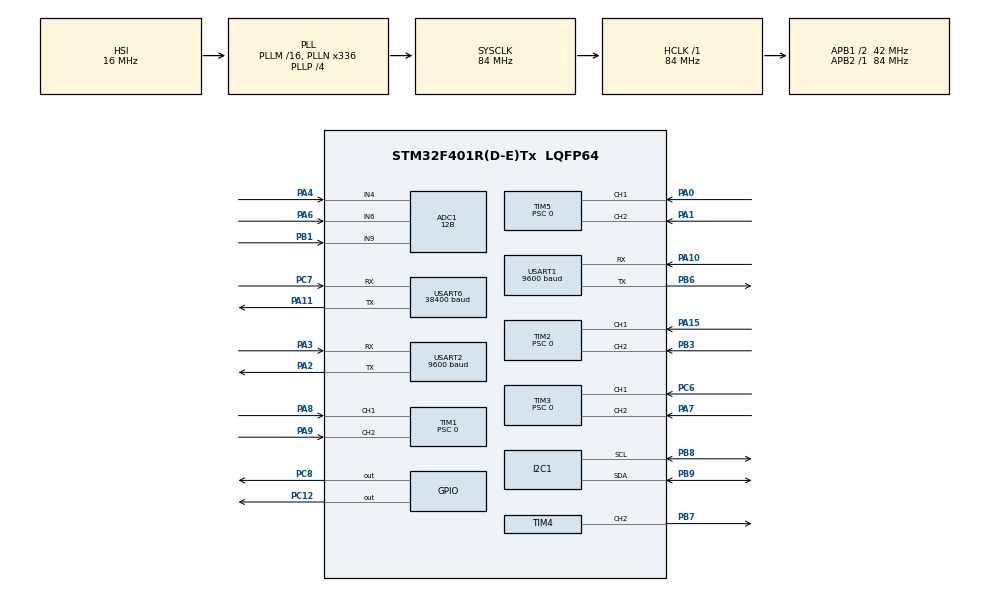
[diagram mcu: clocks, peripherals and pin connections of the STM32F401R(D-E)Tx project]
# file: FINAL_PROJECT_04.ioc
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ADC1.Channel-0\#ChannelRegularConversion=ADC_CHANNEL_4
ADC1.Channel-1\#ChannelRegularConversion=ADC_CHANNEL_9
ADC1.Channel-2\#ChannelRegularConversion=ADC_CHANNEL_6
ADC1.ClockPrescaler=ADC_CLOCK_SYNC_PCLK_DIV4
ADC1.ContinuousConvMode=ENABLE
ADC1.DMAContinuousRequests=ENABLE
ADC1.DataAlign=ADC_DATAALIGN_RIGHT
ADC1.DiscontinuousConvMode=DISABLE
ADC1.EOCSelection=ADC_EOC_SINGLE_CONV
ADC1.EnableAnalogWatchDog=false
ADC1.ExternalTrigConv=ADC_SOFTWARE_START
ADC1.ExternalTrigConvEdge=ADC_EXTERNALTRIGCONVEDGE_NONE
ADC1.InjNumberOfConversion=0
ADC1.NbrOfConversion=3
ADC1.NbrOfConversionFlag=1
ADC1.Rank-0\#ChannelRegularConversion=1
ADC1.Rank-1\#ChannelRegularConversion=2
ADC1.Rank-2\#ChannelRegularConversion=3
ADC1.Resolution=ADC_RESOLUTION_12B
ADC1.SamplingTime-0\#ChannelRegularConversion=ADC_SAMPLETIME_28CYCLES
ADC1.SamplingTime-1\#ChannelRegularConversion=ADC_SAMPLETIME_28CYCLES
ADC1.SamplingTime-2\#ChannelRegularConversion=ADC_SAMPLETIME_28CYCLES
ADC1.ScanConvMode=ENABLE
ADC1.master=1
Dma.ADC1.1.Direction=DMA_PERIPH_TO_MEMORY
Dma.ADC1.1.FIFOMode=DMA_FIFOMODE_DISABLE
Dma.ADC1.1.Instance=DMA2_Stream0
Dma.ADC1.1.MemDataAlignment=DMA_MDATAALIGN_WORD
Dma.ADC1.1.MemInc=DMA_MINC_ENABLE
Dma.ADC1.1.Mode=DMA_CIRCULAR
Dma.ADC1.1.PeriphDataAlignment=DMA_PDATAALIGN_WORD
Dma.ADC1.1.PeriphInc=DMA_PINC_DISABLE
Dma.ADC1.1.Priority=DMA_PRIORITY_LOW
Dma.Request0=TIM4_CH2
Dma.Request1=ADC1
Dma.TIM4_CH2.0.Direction=DMA_MEMORY_TO_PERIPH
Dma.TIM4_CH2.0.FIFOMode=DMA_FIFOMODE_DISABLE
Dma.TIM4_CH2.0.Instance=DMA1_Stream3
Dma.TIM4_CH2.0.MemDataAlignment=DMA_MDATAALIGN_WORD
Dma.TIM4_CH2.0.MemInc=DMA_MINC_ENABLE
Dma.TIM4_CH2.0.Mode=DMA_NORMAL
Dma.TIM4_CH2.0.PeriphDataAlignment=DMA_PDATAALIGN_WORD
Dma.TIM4_CH2.0.PeriphInc=DMA_PINC_DISABLE
Dma.TIM4_CH2.0.Priority=DMA_PRIORITY_HIGH
Mcu.Family=STM32F4
Mcu.Name=STM32F401R(D-E)Tx
Mcu.Package=LQFP64
NVIC.DMA1_Stream3_IRQn=true\:0\:0\:false\:true\:true\:1\:false
NVIC.DMA2_Stream0_IRQn=true\:0\:0\:false\:false\:true\:false
NVIC.PriorityGroup=NVIC_PRIORITYGROUP_4
NVIC.TIM4_IRQn=true\:0\:0\:false\:false\:true\:true
NVIC.USART1_IRQn=true\:0\:0\:false\:false\:true\:true
PA0-WKUP.Signal=S_TIM5_CH1
PA1.Signal=S_TIM5_CH2
PA10.Mode=Asynchronous
PA10.Signal=USART1_RX
PA11.Mode=Asynchronous
PA11.Signal=USART6_TX
PA15.Signal=S_TIM2_CH1_ETR
PA2.Mode=Asynchronous
PA2.Signal=USART2_TX
PA3.Mode=Asynchronous
PA3.Signal=USART2_RX
PA4.Signal=ADCx_IN4
PA6.Signal=ADCx_IN6
PA7.Signal=S_TIM3_CH2
PA8.Signal=S_TIM1_CH1
PA9.Signal=S_TIM1_CH2
PB1.Signal=ADCx_IN9
PB3.Signal=S_TIM2_CH2
PB6.Mode=Asynchronous
PB6.Signal=USART1_TX
PB7.GPIO_PuPd=GPIO_PULLUP
PB7.GPIO_Speed=GPIO_SPEED_FREQ_HIGH
PB7.Signal=S_TIM4_CH2
PB8.Mode=I2C
PB8.Signal=I2C1_SCL
PB9.Mode=I2C
PB9.Signal=I2C1_SDA
PC12.Signal=GPIO_Output
PC6.Signal=S_TIM3_CH1
PC7.Mode=Asynchronous
PC7.Signal=USART6_RX
PC8.Signal=GPIO_Output
ProjectManager.HeapSize=0x200
ProjectManager.StackSize=0x400
ProjectManager.TargetToolchain=SW4STM32
RCC.48MHZClocksFreq_Value=84000000
RCC.AHBFreq_Value=84000000
RCC.APB1CLKDivider=RCC_HCLK_DIV2
RCC.APB1Freq_Value=42000000
RCC.APB1TimFreq_Value=84000000
RCC.APB2Freq_Value=84000000
RCC.APB2TimFreq_Value=84000000
RCC.CortexFreq_Value=84000000
RCC.HCLKFreq_Value=84000000
RCC.HSE_VALUE=25000000
RCC.HSI_VALUE=16000000
RCC.LSE_VALUE=32768
RCC.PLLN=336
RCC.PLLP=RCC_PLLP_DIV4
RCC.SYSCLKFreq_VALUE=84000000
RCC.SYSCLKSource=RCC_SYSCLKSOURCE_PLLCLK
RCC.VCOOutputFreq_Value=336000000
SH.ADCx_IN4.0=ADC1_IN4,IN4
SH.ADCx_IN6.0=ADC1_IN6,IN6
SH.ADCx_IN9.0=ADC1_IN9,IN9
SH.S_TIM1_CH1.0=TIM1_CH1,Encoder_Interface
SH.S_TIM1_CH2.0=TIM1_CH2,Encoder_Interface
SH.S_TIM2_CH1_ETR.0=TIM2_CH1,Encoder_Interface
SH.S_TIM2_CH2.0=TIM2_CH2,Encoder_Interface
SH.S_TIM3_CH1.0=TIM3_CH1,Encoder_Interface
SH.S_TIM3_CH2.0=TIM3_CH2,Encoder_Interface
SH.S_TIM4_CH2.0=TIM4_CH2,PWM Generation2 CH2
SH.S_TIM5_CH1.0=TIM5_CH1,Encoder_Interface
SH.S_TIM5_CH2.0=TIM5_CH2,Encoder_Interface
TIM1.EncoderMode=TIM_ENCODERMODE_TI12
TIM1.Period=65535
TIM1.Prescaler=0
TIM2.EncoderMode=TIM_ENCODERMODE_TI12
TIM2.Period=65535
TIM2.Prescaler=0
TIM3.EncoderMode=TIM_ENCODERMODE_TI12
TIM3.Period=65535
TIM3.Prescaler=0
TIM4.Channel-PWM\ Generation2\ CH2=TIM_CHANNEL_2
TIM4.OCFastMode_PWM-PWM\ Generation2\ CH2=TIM_OCFAST_ENABLE
TIM4.Period=104
TIM5.EncoderMode=TIM_ENCODERMODE_TI12
TIM5.Period=65535
TIM5.Prescaler=0
USART1.BaudRate=9600
USART1.VirtualMode=VM_ASYNC
USART2.BaudRate=9600
USART2.VirtualMode=VM_ASYNC
USART6.BaudRate=38400
USART6.VirtualMode=VM_ASYNC
VP_TIM4_VS_ClockSourceINT.Mode=Internal
board=FINAL_PROJ_NO_LED_CURRENT

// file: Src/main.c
/**
 ******************************************************************************
 * @file           : main.c
 * @brief          : Main program body
 ******************************************************************************
 ** This notice applies to any and all portions of this file
 * that are not between comment pairs USER CODE BEGIN and
 * USER CODE END. Other portions of this file, whether
 * inserted by the user or by software development tools
 * are owned by their respective copyright owners.
 *
 * COPYRIGHT(c) 2018 STMicroelectronics
 *
 * Redistribution and use in source and binary forms, with or without modification,
 * are permitted provided that the following conditions are met:
 *   1. Redistributions of source code must retain the above copyright notice,
 *      this list of conditions and the following disclaimer.
 *   2. Redistributions in binary form must reproduce the above copyright notice,
 *      this list of conditions and the following disclaimer in the documentation
 *      and/or other materials provided with the distribution.
 *   3. Neither the name of STMicroelectronics nor the names of its contributors
 *      may be used to endorse or promote products derived from this software
 *      without specific prior written permission.
 *
 * THIS SOFTWARE IS PROVIDED BY THE COPYRIGHT HOLDERS AND CONTRIBUTORS "AS IS"
 * AND ANY EXPRESS OR IMPLIED WARRANTIES, INCLUDING, BUT NOT LIMITED TO, THE
 * IMPLIED WARRANTIES OF MERCHANTABILITY AND FITNESS FOR A PARTICULAR PURPOSE ARE
 * DISCLAIMED. IN NO EVENT SHALL THE COPYRIGHT HOLDER OR CONTRIBUTORS BE LIABLE
 * FOR ANY DIRECT, INDIRECT, INCIDENTAL, SPECIAL, EXEMPLARY, OR CONSEQUENTIAL
 * DAMAGES (INCLUDING, BUT NOT LIMITED TO, PROCUREMENT OF SUBSTITUTE GOODS OR
 * SERVICES; LOSS OF USE, DATA, OR PROFITS; OR BUSINESS INTERRUPTION) HOWEVER
 * CAUSED AND ON ANY THEORY OF LIABILITY, WHETHER IN CONTRACT, STRICT LIABILITY,
 * OR TORT (INCLUDING NEGLIGENCE OR OTHERWISE) ARISING IN ANY WAY OUT OF THE USE
 * OF THIS SOFTWARE, EVEN IF ADVISED OF THE POSSIBILITY OF SUCH DAMAGE.
 *
 ******************************************************************************
 */
#include "main.h"
#include "stm32f4xx_hal.h"

/* USER CODE BEGIN Includes */
#include "string.h"
#include "math.h"
#include "stdlib.h"
#include "stdio.h"
#include "motor_control.h"
#include "self_driving.h"
#include "neoPixel_handler.h"
#define CONTROL_CYCLE_PERIOD 50L
#define DEBUG_COUNT 2
#define N_SPEED_SAMPLES 1//1

#define INDICATION_DELAY  1000 /*!< LED is ON for at least this period [ms] */
#define X_POWER_UP_DELAY    100 /*!< Delay after accelero power-up [ms] */
#define G_POWER_UP_DELAY    150 /*!< Delay after gyro power-up [ms] */
#define N_SAMPLES  5 /*!< Number of samples */
#define UART_TRANSMIT_TIMEOUT  5000
#define MAX_BUF_SIZE 256
static char dataOut[MAX_BUF_SIZE];
static void *LSM6DSL_X_0_handle = NULL;
static void *LSM6DSL_G_0_handle = NULL;
uint8_t reg_addr[] = { 0x10, 0x11, 0x12, 0x13, 0x14, 0x15, 0x16, 0x17, 0x18,
		0x19 };
uint8_t x_st_reg_values[] = { 0x38, 0x00, 0x44, 0x00, 0x00, 0x00, 0x00, 0x00,
		0x00, 0x00 };
uint8_t g_st_reg_values[] = { 0x00, 0x5C, 0x44, 0x00, 0x00, 0x00, 0x00, 0x00,
		0x00, 0x00 };
#define ST_REG_COUNT  (sizeof(reg_addr) / sizeof(uint8_t))
typedef enum {
	LED2 = 0
} Led_TypeDef;
typedef enum {
	STATUS_SELFTEST, STATUS_SLEEP
} DEMO_STATUS;

/* USER CODE END Includes */

ADC_HandleTypeDef hadc1;
DMA_HandleTypeDef hdma_adc1;

I2C_HandleTypeDef hi2c1;

TIM_HandleTypeDef htim1;
TIM_HandleTypeDef htim2;
TIM_HandleTypeDef htim3;
TIM_HandleTypeDef htim4;
TIM_HandleTypeDef htim5;
DMA_HandleTypeDef hdma_tim4_ch2;

UART_HandleTypeDef huart1;
UART_HandleTypeDef huart2;
UART_HandleTypeDef huart6;

/* USER CODE BEGIN PV */
/* Private variables ---------------------------------------------------------*/
uint8_t buffer[4], speed_buffer[3];
uint32_t lane_sensor[3], adc_buffer[3];
uint8_t debug_cycle = 0;
uint8_t RIGHT = 0, LEFT = 0, AUTONOMOUS = 0, PRINT_INFO = 0, headlight = 0,
		rearlight = 0, OLD_LEFT = 0, OLD_RIGHT = 0, warning = 0;
uint32_t auto_counter = 0;
uint8_t headlight_state = 0, lightcycle = 0;
/* USER CODE END PV */

void SystemClock_Config(void);
static void MX_GPIO_Init(void);
static void MX_DMA_Init(void);
static void MX_TIM2_Init(void);
static void MX_TIM1_Init(void);
static void MX_TIM3_Init(void);
static void MX_TIM5_Init(void);
static void MX_USART1_UART_Init(void);
static void MX_USART2_UART_Init(void);
static void MX_USART6_UART_Init(void);
static void MX_ADC1_Init(void);
static void MX_I2C1_Init(void);
static void MX_TIM4_Init(void);
static void MX_NVIC_Init(void);

void HAL_TIM_MspPostInit(TIM_HandleTypeDef *htim);

/* USER CODE BEGIN PFP */
/* Private function prototypes -----------------------------------------------*/
static DrvStatusTypeDef Init_All_Sensors(void);
static DrvStatusTypeDef Enable_All_Sensors(void);
static DrvStatusTypeDef LSM6DSL_X_SelfTest(UART_HandleTypeDef huart);
static DrvStatusTypeDef LSM6DSL_G_SelfTest(UART_HandleTypeDef huart);
static DrvStatusTypeDef LSM6DSL_X_Get_Data(SensorAxes_t *data);
static DrvStatusTypeDef LSM6DSL_G_Get_Data(SensorAxes_t *data);
/* USER CODE END PFP */

int main(void) {
	/* USER CODE BEGIN 1 */
	uint16_t cnt_a_1, cnt_b_1, cnt_c_1, cnt_d_1;
	uint16_t cnt_a_2, cnt_b_2, cnt_c_2, cnt_d_2;
	uint32_t tick = 0;
	char msg[2000];
	uint16_t user_desired_speed = 0;
	int16_t desired_speed_a = 0, desired_speed_b = 0, desired_speed_c = 0,
			desired_speed_d = 0;
	int16_t speed_a = 0, speed_b = 0, speed_c = 0, speed_d = 0;
	int16_t buffer_speed_a = 0, buffer_speed_b = 0, buffer_speed_c = 0,
			buffer_speed_d = 0;
	int16_t average_speed_a = 0, average_speed_b = 0, average_speed_c = 0,
			average_speed_d = 0;
	int16_t forced_speed_a = 0, forced_speed_b = 0, forced_speed_c = 0,
			forced_speed_d = 0;
	uint8_t speed_cycle_counter = 0;
	int16_t integral_a = 0, integral_b = 0, integral_c = 0, integral_d = 0;
	int16_t derivative_a = 0, derivative_b = 0, derivative_c = 0, derivative_d =
			0;
	int16_t last_error_a = 0, last_error_b = 0, last_error_c = 0, last_error_d =
			0;

	uint8_t fast_tim_a = ((TIM1->SMCR & 0x3) == 0x3) ? 1 : 0;
	uint8_t fast_tim_b = ((TIM2->SMCR & 0x3) == 0x3) ? 1 : 0;
	uint8_t fast_tim_c = ((TIM3->SMCR & 0x3) == 0x3) ? 1 : 0;
	uint8_t fast_tim_d = ((TIM5->SMCR & 0x3) == 0x3) ? 1 : 0;

	for (int i = 0; i < 4; i++) {
		speed_buffer[i] = 48;
		buffer[i] = 48;
	}
	/* USER CODE END 1 */

	/* MCU Configuration----------------------------------------------------------*/

	/* Reset of all peripherals, Initializes the Flash interface and the Systick. */
	HAL_Init();

	/* Configure the system clock */
	SystemClock_Config();

	/* Initialize all configured peripherals */
	MX_GPIO_Init();
	MX_DMA_Init();
	MX_TIM2_Init();
	MX_TIM1_Init();
	MX_TIM3_Init();
	MX_TIM5_Init();
	MX_USART1_UART_Init();
	MX_USART2_UART_Init();
	MX_USART6_UART_Init();
	MX_ADC1_Init();
	MX_I2C1_Init();
	MX_TIM4_Init();

	/* Initialize interrupts */
	MX_NVIC_Init();
	/* USER CODE BEGIN 2 */
	HAL_ADC_Start_DMA(&hadc1, adc_buffer, 3);
	__HAL_UART_ENABLE_IT(&huart1, UART_IT_TC);
	__HAL_UART_ENABLE_IT(&huart1, UART_IT_RXNE);
	HAL_ADC_Start_IT(&hadc1);
	snprintf(dataOut, MAX_BUF_SIZE,
			"\r\n----ROVER----\r\n");
	HAL_UART_Transmit(&huart1, (uint8_t*) dataOut, strlen(dataOut), 0xFFFF);

	HAL_Delay(200);

	if (Init_All_Sensors() == COMPONENT_ERROR) {
		snprintf(dataOut, MAX_BUF_SIZE, "\r\nINIT SENSORS ERROR\r\n");
		HAL_UART_Transmit(&huart1, (uint8_t *) dataOut, strlen(dataOut),
		UART_TRANSMIT_TIMEOUT);

	}

	if (Enable_All_Sensors() == COMPONENT_ERROR) {
		snprintf(dataOut, MAX_BUF_SIZE, "\r\nENABLE SENSORS ERROR\r\n");
		HAL_UART_Transmit(&huart1, (uint8_t *) dataOut, strlen(dataOut),
		UART_TRANSMIT_TIMEOUT);

	}

	// >>>>> WS2812 RGB Led
	neoPixel_initLeds();
	Enable_drivers();

	drive_motor(MOTOR_DRIVER_FRONT_ADDRESS, 4, forced_speed_a, huart6);
	drive_motor(MOTOR_DRIVER_FRONT_ADDRESS, 0, forced_speed_b, huart6);
	drive_motor(MOTOR_DRIVER_REAR_ADDRESS, 4, forced_speed_c, huart6);
	drive_motor(MOTOR_DRIVER_REAR_ADDRESS, 0, forced_speed_d, huart6);

	HAL_TIM_Encoder_Start(&htim1, TIM_CHANNEL_ALL); //MOTOR A ENCODER
	HAL_TIM_Encoder_Start(&htim2, TIM_CHANNEL_ALL); //MOTOR B ENCODER
	HAL_TIM_Encoder_Start(&htim3, TIM_CHANNEL_ALL); //MOTOR C ENCODER
	HAL_TIM_Encoder_Start(&htim5, TIM_CHANNEL_ALL); //MOTOR D ENCODER

	cnt_a_1 = __HAL_TIM_GET_COUNTER(&htim1);
	cnt_b_1 = __HAL_TIM_GET_COUNTER(&htim2);
	cnt_c_1 = __HAL_TIM_GET_COUNTER(&htim3);
	cnt_d_1 = __HAL_TIM_GET_COUNTER(&htim5);
	tick = HAL_GetTick();
	HAL_Delay(1000);

	/* USER CODE END 2 */

	/* Infinite loop */
	/* USER CODE BEGIN WHILE */
	while (1) {
		if (HAL_GetTick() - tick > CONTROL_CYCLE_PERIOD) {
			cnt_a_2 = __HAL_TIM_GET_COUNTER(&htim1);
			cnt_b_2 = __HAL_TIM_GET_COUNTER(&htim2);
			cnt_c_2 = __HAL_TIM_GET_COUNTER(&htim3);
			cnt_d_2 = __HAL_TIM_GET_COUNTER(&htim5);
			speed_a = encoder(cnt_a_1, cnt_a_2, htim1, fast_tim_a);
			speed_b = encoder(cnt_b_1, cnt_b_2, htim2, fast_tim_b);
			speed_c = encoder(cnt_c_1, cnt_c_2, htim3, fast_tim_c);
			speed_d = encoder(cnt_d_1, cnt_d_2, htim5, fast_tim_d);
			buffer_speed_a += speed_a;
			buffer_speed_b += speed_b;
			buffer_speed_c += speed_c;
			buffer_speed_d += speed_d;

			speed_cycle_counter += 1;
			if (speed_cycle_counter >= N_SPEED_SAMPLES) {
				average_speed_a = buffer_speed_a / N_SPEED_SAMPLES;
				average_speed_b = buffer_speed_b / N_SPEED_SAMPLES;
				average_speed_c = buffer_speed_c / N_SPEED_SAMPLES;
				average_speed_d = buffer_speed_d / N_SPEED_SAMPLES;
				user_desired_speed = calculate_numeral_speed(speed_buffer);

				desired_speed_a = user_desired_speed;
				desired_speed_b = user_desired_speed;
				desired_speed_c = user_desired_speed;
				desired_speed_d = user_desired_speed;

				if (AUTONOMOUS) {
					autonomous_drive(&desired_speed_a, &desired_speed_b,
							&desired_speed_c, &desired_speed_d, &LEFT, &RIGHT,
							&OLD_LEFT, &OLD_RIGHT, &warning);
				} else {
					OLD_RIGHT = 0;
					OLD_LEFT = 0;
				}

				change_direction(&desired_speed_a, &desired_speed_b,
						&desired_speed_c, &desired_speed_d, &LEFT, &RIGHT);

				forced_speed_a = PID(average_speed_a, &last_error_a,
						&integral_a, &derivative_a, desired_speed_a);
				forced_speed_b = PID(average_speed_b, &last_error_b,
						&integral_b, &derivative_b, desired_speed_b);

				forced_speed_c = PID(average_speed_c, &last_error_c,
						&integral_c, &derivative_c, desired_speed_c);
				forced_speed_d = PID(average_speed_d, &last_error_d,
						&integral_d, &derivative_d, desired_speed_d);

				/******************************DEBUG INTERFACE***************************/
//				if (debug_cycle >= DEBUG_COUNT) {
//					HAL_UART_Transmit(&huart2, (uint8_t*) buffer,
//							4 * sizeof(char), 0xFFFFFF);
//					sprintf(msg, "\r\nTICK: %lu\tSPEED INPUT: %d\r\n"
//							"LANE_SX:%lu\tLANE_CEN:%lu\tLANE_DX:%lu\r\n"
//							"LANE_SX:%d\tLANE_CEN:%d\tLANE_DX:%d\r\n",
//							(unsigned long) tick, user_desired_speed,
//							adc_buffer[0], adc_buffer[1], adc_buffer[2],
//							(adc_buffer[0] < LANE_THRESHOLD_SX),
//							(adc_buffer[1] < LANE_THRESHOLD_CEN),
//							(adc_buffer[2] < LANE_THRESHOLD_DX));
//					HAL_UART_Transmit(&huart2, (uint8_t*) msg, strlen(msg),
//							0xFFFF);
//					sprintf(msg,
//							"MOTOR_A: %d\tMOTOR_B: %d\tMOTOR_C: %d\tMOTOR_D: %d\r\n",
//							forced_speed_a, forced_speed_b, forced_speed_c,
//							forced_speed_d);
//					HAL_UART_Transmit(&huart2, (uint8_t*) msg, strlen(msg),
//							0xFFFF);
//					debug_cycle = 0;
//					if (LSM6DSL_X_SelfTest(huart2) == COMPONENT_ERROR) {
//						snprintf(dataOut, MAX_BUF_SIZE,
//								"\r\n LSM6DSL_X SENSOR ERROR\r\n");
//						HAL_UART_Transmit(&huart2, (uint8_t *) dataOut,
//								strlen(dataOut), UART_TRANSMIT_TIMEOUT);
//					}
//					if (LSM6DSL_G_SelfTest(huart2) == COMPONENT_ERROR) {
//						snprintf(dataOut, MAX_BUF_SIZE,
//								"\r\n LSM6DSL_G SENSOR ERROR\r\n");
//						HAL_UART_Transmit(&huart2, (uint8_t *) dataOut,
//								strlen(dataOut), UART_TRANSMIT_TIMEOUT);
//					}
//				} else {
//					debug_cycle++;
//				}
				/******************************END DEBUG INTERFACE***********************/
				drive_motor(MOTOR_DRIVER_FRONT_ADDRESS,
						((forced_speed_a < 0) ? 4 : 5), abs(forced_speed_a),
						huart6);
				drive_motor(MOTOR_DRIVER_FRONT_ADDRESS,
						((forced_speed_b < 0) ? 1 : 0), abs(forced_speed_b),
						huart6);
				drive_motor(MOTOR_DRIVER_REAR_ADDRESS,
						((forced_speed_c < 0) ? 4 : 5), abs(forced_speed_c),
						huart6);
				drive_motor(MOTOR_DRIVER_REAR_ADDRESS,
						((forced_speed_d < 0) ? 1 : 0), abs(forced_speed_d),
						huart6);

				if (lightcycle <= 0) {
					headlight_manager(&headlight, &rearlight,
							(average_speed_a || average_speed_b
									|| average_speed_c || average_speed_d),
							&warning, &headlight_state);
					lightcycle = 10;
				} else {
					lightcycle--;
				}

				buffer_speed_a = 0;
				buffer_speed_b = 0;
				buffer_speed_c = 0;
				buffer_speed_d = 0;
				speed_cycle_counter = 0;
			}

			switch (PRINT_INFO) {
			case 1:
				sprintf(msg, "L\t\tC\t\tR\r\n"
						" %lu(%d)\t%lu(%d)\t%lu(%d)\r\n"
						"OLD_LEFT LEFT RIGHT OLD_RIGHT: %d %d %d %d\r\n",
						adc_buffer[0], (adc_buffer[0] < LANE_THRESHOLD_SX),
						adc_buffer[1], (adc_buffer[1] < LANE_THRESHOLD_CEN),
						adc_buffer[2], (adc_buffer[2] < LANE_THRESHOLD_DX),
						OLD_LEFT, LEFT, RIGHT, OLD_RIGHT);
				HAL_UART_Transmit(&huart1, (uint8_t*) msg, strlen(msg), 0xFFFF);
				break;
			case 2:
				if (LSM6DSL_X_SelfTest(huart1) == COMPONENT_ERROR) {
					snprintf(dataOut, MAX_BUF_SIZE,
							"\r\n LSM6DSL_X SENSOR ERROR\r\n");
					HAL_UART_Transmit(&huart1, (uint8_t *) dataOut,
							strlen(dataOut),
							UART_TRANSMIT_TIMEOUT);
				}

				if (LSM6DSL_G_SelfTest(huart1) == COMPONENT_ERROR) {
					snprintf(dataOut, MAX_BUF_SIZE,
							"\r\n LSM6DSL_G SENSOR ERROR\r\n");
					HAL_UART_Transmit(&huart1, (uint8_t *) dataOut,
							strlen(dataOut),
							UART_TRANSMIT_TIMEOUT);
				}
				break;
			case 3:
				sprintf(msg, "Front-L: %d\r\n"
						"Front-R: %d\r\n"
						"Rear-L: %d\r\n"
						"Rear-R: %d\r\n", average_speed_a, average_speed_b,
						average_speed_c, average_speed_d);
				HAL_UART_Transmit(&huart1, (uint8_t*) msg, strlen(msg), 0xFFFF);
				break;
			}
			PRINT_INFO = 0;

			tick = HAL_GetTick();
			cnt_a_1 = __HAL_TIM_GET_COUNTER(&htim1);
			cnt_b_1 = __HAL_TIM_GET_COUNTER(&htim2);
			cnt_c_1 = __HAL_TIM_GET_COUNTER(&htim3);
			cnt_d_1 = __HAL_TIM_GET_COUNTER(&htim5);
		}

		/* USER CODE END WHILE */

	}

}

void SystemClock_Config(void) {

	RCC_OscInitTypeDef RCC_OscInitStruct;
	RCC_ClkInitTypeDef RCC_ClkInitStruct;

	/**Configure the main internal regulator output voltage
	 */
	__HAL_RCC_PWR_CLK_ENABLE()
	;

	__HAL_PWR_VOLTAGESCALING_CONFIG(PWR_REGULATOR_VOLTAGE_SCALE2);

	/**Initializes the CPU, AHB and APB busses clocks
	 */
	RCC_OscInitStruct.OscillatorType = RCC_OSCILLATORTYPE_HSI;
	RCC_OscInitStruct.HSIState = RCC_HSI_ON;
	RCC_OscInitStruct.HSICalibrationValue = 16;
	RCC_OscInitStruct.PLL.PLLState = RCC_PLL_ON;
	RCC_OscInitStruct.PLL.PLLSource = RCC_PLLSOURCE_HSI;
	RCC_OscInitStruct.PLL.PLLM = 16;
	RCC_OscInitStruct.PLL.PLLN = 336;
	RCC_OscInitStruct.PLL.PLLP = RCC_PLLP_DIV4;
	RCC_OscInitStruct.PLL.PLLQ = 4;
	if (HAL_RCC_OscConfig(&RCC_OscInitStruct) != HAL_OK) {
		_Error_Handler(__FILE__, __LINE__);
	}

	/**Initializes the CPU, AHB and APB busses clocks
	 */
	RCC_ClkInitStruct.ClockType = RCC_CLOCKTYPE_HCLK | RCC_CLOCKTYPE_SYSCLK
			| RCC_CLOCKTYPE_PCLK1 | RCC_CLOCKTYPE_PCLK2;
	RCC_ClkInitStruct.SYSCLKSource = RCC_SYSCLKSOURCE_PLLCLK;
	RCC_ClkInitStruct.AHBCLKDivider = RCC_SYSCLK_DIV1;
	RCC_ClkInitStruct.APB1CLKDivider = RCC_HCLK_DIV2;
	RCC_ClkInitStruct.APB2CLKDivider = RCC_HCLK_DIV1;

	if (HAL_RCC_ClockConfig(&RCC_ClkInitStruct, FLASH_LATENCY_2) != HAL_OK) {
		_Error_Handler(__FILE__, __LINE__);
	}

	/**Configure the Systick interrupt time
	 */
	HAL_SYSTICK_Config(HAL_RCC_GetHCLKFreq() / 1000);

	/**Configure the Systick
	 */
	HAL_SYSTICK_CLKSourceConfig(SYSTICK_CLKSOURCE_HCLK);

	/* SysTick_IRQn interrupt configuration */
	HAL_NVIC_SetPriority(SysTick_IRQn, 0, 0);
}

/**
 * @brief NVIC Configuration.
 * @retval None
 */
static void MX_NVIC_Init(void) {
	/* DMA1_Stream3_IRQn interrupt configuration */
	HAL_NVIC_SetPriority(DMA1_Stream3_IRQn, 0, 0);
	HAL_NVIC_EnableIRQ(DMA1_Stream3_IRQn);
}

/* ADC1 init function */
static void MX_ADC1_Init(void) {

	ADC_ChannelConfTypeDef sConfig;

	/**Configure the global features of the ADC (Clock, Resolution, Data Alignment and number of conversion)
	 */
	hadc1.Instance = ADC1;
	hadc1.Init.ClockPrescaler = ADC_CLOCK_SYNC_PCLK_DIV4;
	hadc1.Init.Resolution = ADC_RESOLUTION_12B;
	hadc1.Init.ScanConvMode = ENABLE;
	hadc1.Init.ContinuousConvMode = ENABLE;
	hadc1.Init.DiscontinuousConvMode = DISABLE;
	hadc1.Init.ExternalTrigConvEdge = ADC_EXTERNALTRIGCONVEDGE_NONE;
	hadc1.Init.ExternalTrigConv = ADC_SOFTWARE_START;
	hadc1.Init.DataAlign = ADC_DATAALIGN_RIGHT;
	hadc1.Init.NbrOfConversion = 3;
	hadc1.Init.DMAContinuousRequests = ENABLE;
	hadc1.Init.EOCSelection = ADC_EOC_SINGLE_CONV;
	if (HAL_ADC_Init(&hadc1) != HAL_OK) {
		_Error_Handler(__FILE__, __LINE__);
	}

	/**Configure for the selected ADC regular channel its corresponding rank in the sequencer and its sample time.
	 */
	sConfig.Channel = ADC_CHANNEL_4;
	sConfig.Rank = 1;
	sConfig.SamplingTime = ADC_SAMPLETIME_28CYCLES;
	if (HAL_ADC_ConfigChannel(&hadc1, &sConfig) != HAL_OK) {
		_Error_Handler(__FILE__, __LINE__);
	}

	/**Configure for the selected ADC regular channel its corresponding rank in the sequencer and its sample time.
	 */
	sConfig.Channel = ADC_CHANNEL_9;
	sConfig.Rank = 2;
	if (HAL_ADC_ConfigChannel(&hadc1, &sConfig) != HAL_OK) {
		_Error_Handler(__FILE__, __LINE__);
	}

	/**Configure for the selected ADC regular channel its corresponding rank in the sequencer and its sample time.
	 */
	sConfig.Channel = ADC_CHANNEL_6;
	sConfig.Rank = 3;
	if (HAL_ADC_ConfigChannel(&hadc1, &sConfig) != HAL_OK) {
		_Error_Handler(__FILE__, __LINE__);
	}

}

/* I2C1 init function */
static void MX_I2C1_Init(void) {

	hi2c1.Instance = I2C1;
	hi2c1.Init.ClockSpeed = 100000;
	hi2c1.Init.DutyCycle = I2C_DUTYCYCLE_2;
	hi2c1.Init.OwnAddress1 = 0;
	hi2c1.Init.AddressingMode = I2C_ADDRESSINGMODE_7BIT;
	hi2c1.Init.DualAddressMode = I2C_DUALADDRESS_DISABLE;
	hi2c1.Init.OwnAddress2 = 0;
	hi2c1.Init.GeneralCallMode = I2C_GENERALCALL_DISABLE;
	hi2c1.Init.NoStretchMode = I2C_NOSTRETCH_DISABLE;
	if (HAL_I2C_Init(&hi2c1) != HAL_OK) {
		_Error_Handler(__FILE__, __LINE__);
	}

}

/* TIM1 init function */
static void MX_TIM1_Init(void) {

	TIM_Encoder_InitTypeDef sConfig;
	TIM_MasterConfigTypeDef sMasterConfig;

	htim1.Instance = TIM1;
	htim1.Init.Prescaler = 0;
	htim1.Init.CounterMode = TIM_COUNTERMODE_UP;
	htim1.Init.Period = 65535;
	htim1.Init.ClockDivision = TIM_CLOCKDIVISION_DIV1;
	htim1.Init.RepetitionCounter = 0;
	sConfig.EncoderMode = TIM_ENCODERMODE_TI12;
	sConfig.IC1Polarity = TIM_ICPOLARITY_RISING;
	sConfig.IC1Selection = TIM_ICSELECTION_DIRECTTI;
	sConfig.IC1Prescaler = TIM_ICPSC_DIV1;
	sConfig.IC1Filter = 0;
	sConfig.IC2Polarity = TIM_ICPOLARITY_RISING;
	sConfig.IC2Selection = TIM_ICSELECTION_DIRECTTI;
	sConfig.IC2Prescaler = TIM_ICPSC_DIV1;
	sConfig.IC2Filter = 0;
	if (HAL_TIM_Encoder_Init(&htim1, &sConfig) != HAL_OK) {
		_Error_Handler(__FILE__, __LINE__);
	}

	sMasterConfig.MasterOutputTrigger = TIM_TRGO_RESET;
	sMasterConfig.MasterSlaveMode = TIM_MASTERSLAVEMODE_DISABLE;
	if (HAL_TIMEx_MasterConfigSynchronization(&htim1, &sMasterConfig)
			!= HAL_OK) {
		_Error_Handler(__FILE__, __LINE__);
	}

}

/* TIM2 init function */
static void MX_TIM2_Init(void) {

	TIM_Encoder_InitTypeDef sConfig;
	TIM_MasterConfigTypeDef sMasterConfig;

	htim2.Instance = TIM2;
	htim2.Init.Prescaler = 0;
	htim2.Init.CounterMode = TIM_COUNTERMODE_UP;
	htim2.Init.Period = 65535;
	htim2.Init.ClockDivision = TIM_CLOCKDIVISION_DIV1;
	sConfig.EncoderMode = TIM_ENCODERMODE_TI12;
	sConfig.IC1Polarity = TIM_ICPOLARITY_RISING;
	sConfig.IC1Selection = TIM_ICSELECTION_DIRECTTI;
	sConfig.IC1Prescaler = TIM_ICPSC_DIV1;
	sConfig.IC1Filter = 0;
	sConfig.IC2Polarity = TIM_ICPOLARITY_RISING;
	sConfig.IC2Selection = TIM_ICSELECTION_DIRECTTI;
	sConfig.IC2Prescaler = TIM_ICPSC_DIV1;
	sConfig.IC2Filter = 0;
	if (HAL_TIM_Encoder_Init(&htim2, &sConfig) != HAL_OK) {
		_Error_Handler(__FILE__, __LINE__);
	}

	sMasterConfig.MasterOutputTrigger = TIM_TRGO_RESET;
	sMasterConfig.MasterSlaveMode = TIM_MASTERSLAVEMODE_DISABLE;
	if (HAL_TIMEx_MasterConfigSynchronization(&htim2, &sMasterConfig)
			!= HAL_OK) {
		_Error_Handler(__FILE__, __LINE__);
	}

}

/* TIM3 init function */
static void MX_TIM3_Init(void) {

	TIM_Encoder_InitTypeDef sConfig;
	TIM_MasterConfigTypeDef sMasterConfig;

	htim3.Instance = TIM3;
	htim3.Init.Prescaler = 0;
	htim3.Init.CounterMode = TIM_COUNTERMODE_UP;
	htim3.Init.Period = 65535;
	htim3.Init.ClockDivision = TIM_CLOCKDIVISION_DIV1;
	sConfig.EncoderMode = TIM_ENCODERMODE_TI12;
	sConfig.IC1Polarity = TIM_ICPOLARITY_RISING;
	sConfig.IC1Selection = TIM_ICSELECTION_DIRECTTI;
	sConfig.IC1Prescaler = TIM_ICPSC_DIV1;
	sConfig.IC1Filter = 0;
	sConfig.IC2Polarity = TIM_ICPOLARITY_RISING;
	sConfig.IC2Selection = TIM_ICSELECTION_DIRECTTI;
	sConfig.IC2Prescaler = TIM_ICPSC_DIV1;
	sConfig.IC2Filter = 0;
	if (HAL_TIM_Encoder_Init(&htim3, &sConfig) != HAL_OK) {
		_Error_Handler(__FILE__, __LINE__);
	}

	sMasterConfig.MasterOutputTrigger = TIM_TRGO_RESET;
	sMasterConfig.MasterSlaveMode = TIM_MASTERSLAVEMODE_DISABLE;
	if (HAL_TIMEx_MasterConfigSynchronization(&htim3, &sMasterConfig)
			!= HAL_OK) {
		_Error_Handler(__FILE__, __LINE__);
	}

}

/* TIM4 init function */
static void MX_TIM4_Init(void) {

	TIM_ClockConfigTypeDef sClockSourceConfig;
	TIM_MasterConfigTypeDef sMasterConfig;
	TIM_OC_InitTypeDef sConfigOC;

	htim4.Instance = TIM4;
	htim4.Init.Prescaler = 0;
	htim4.Init.CounterMode = TIM_COUNTERMODE_UP;
	htim4.Init.Period = 104;
	htim4.Init.ClockDivision = TIM_CLOCKDIVISION_DIV1;
	if (HAL_TIM_Base_Init(&htim4) != HAL_OK) {
		_Error_Handler(__FILE__, __LINE__);
	}

	sClockSourceConfig.ClockSource = TIM_CLOCKSOURCE_INTERNAL;
	if (HAL_TIM_ConfigClockSource(&htim4, &sClockSourceConfig) != HAL_OK) {
		_Error_Handler(__FILE__, __LINE__);
	}

	if (HAL_TIM_PWM_Init(&htim4) != HAL_OK) {
		_Error_Handler(__FILE__, __LINE__);
	}

	sMasterConfig.MasterOutputTrigger = TIM_TRGO_RESET;
	sMasterConfig.MasterSlaveMode = TIM_MASTERSLAVEMODE_DISABLE;
	if (HAL_TIMEx_MasterConfigSynchronization(&htim4, &sMasterConfig)
			!= HAL_OK) {
		_Error_Handler(__FILE__, __LINE__);
	}

	sConfigOC.OCMode = TIM_OCMODE_PWM1;
	sConfigOC.Pulse = 0;
	sConfigOC.OCPolarity = TIM_OCPOLARITY_HIGH;
	sConfigOC.OCFastMode = TIM_OCFAST_ENABLE;
	if (HAL_TIM_PWM_ConfigChannel(&htim4, &sConfigOC, TIM_CHANNEL_2)
			!= HAL_OK) {
		_Error_Handler(__FILE__, __LINE__);
	}

	HAL_TIM_MspPostInit(&htim4);

}

/* TIM5 init function */
static void MX_TIM5_Init(void) {

	TIM_Encoder_InitTypeDef sConfig;
	TIM_MasterConfigTypeDef sMasterConfig;

	htim5.Instance = TIM5;
	htim5.Init.Prescaler = 0;
	htim5.Init.CounterMode = TIM_COUNTERMODE_UP;
	htim5.Init.Period = 65535;
	htim5.Init.ClockDivision = TIM_CLOCKDIVISION_DIV1;
	sConfig.EncoderMode = TIM_ENCODERMODE_TI12;
	sConfig.IC1Polarity = TIM_ICPOLARITY_RISING;
	sConfig.IC1Selection = TIM_ICSELECTION_DIRECTTI;
	sConfig.IC1Prescaler = TIM_ICPSC_DIV1;
	sConfig.IC1Filter = 0;
	sConfig.IC2Polarity = TIM_ICPOLARITY_RISING;
	sConfig.IC2Selection = TIM_ICSELECTION_DIRECTTI;
	sConfig.IC2Prescaler = TIM_ICPSC_DIV1;
	sConfig.IC2Filter = 0;
	if (HAL_TIM_Encoder_Init(&htim5, &sConfig) != HAL_OK) {
		_Error_Handler(__FILE__, __LINE__);
	}

	sMasterConfig.MasterOutputTrigger = TIM_TRGO_RESET;
	sMasterConfig.MasterSlaveMode = TIM_MASTERSLAVEMODE_DISABLE;
	if (HAL_TIMEx_MasterConfigSynchronization(&htim5, &sMasterConfig)
			!= HAL_OK) {
		_Error_Handler(__FILE__, __LINE__);
	}

}

/* USART1 init function */
static void MX_USART1_UART_Init(void) {

	huart1.Instance = USART1;
	huart1.Init.BaudRate = 9600;
	huart1.Init.WordLength = UART_WORDLENGTH_8B;
	huart1.Init.StopBits = UART_STOPBITS_1;
	huart1.Init.Parity = UART_PARITY_NONE;
	huart1.Init.Mode = UART_MODE_TX_RX;
	huart1.Init.HwFlowCtl = UART_HWCONTROL_NONE;
	huart1.Init.OverSampling = UART_OVERSAMPLING_16;
	if (HAL_UART_Init(&huart1) != HAL_OK) {
		_Error_Handler(__FILE__, __LINE__);
	}

}

/* USART2 init function */
static void MX_USART2_UART_Init(void) {

	huart2.Instance = USART2;
	huart2.Init.BaudRate = 9600;
	huart2.Init.WordLength = UART_WORDLENGTH_8B;
	huart2.Init.StopBits = UART_STOPBITS_1;
	huart2.Init.Parity = UART_PARITY_NONE;
	huart2.Init.Mode = UART_MODE_TX_RX;
	huart2.Init.HwFlowCtl = UART_HWCONTROL_NONE;
	huart2.Init.OverSampling = UART_OVERSAMPLING_16;
	if (HAL_UART_Init(&huart2) != HAL_OK) {
		_Error_Handler(__FILE__, __LINE__);
	}

}

/* USART6 init function */
static void MX_USART6_UART_Init(void) {

	huart6.Instance = USART6;
	huart6.Init.BaudRate = 38400;
	huart6.Init.WordLength = UART_WORDLENGTH_8B;
	huart6.Init.StopBits = UART_STOPBITS_1;
	huart6.Init.Parity = UART_PARITY_NONE;
	huart6.Init.Mode = UART_MODE_TX_RX;
	huart6.Init.HwFlowCtl = UART_HWCONTROL_NONE;
	huart6.Init.OverSampling = UART_OVERSAMPLING_16;
	if (HAL_UART_Init(&huart6) != HAL_OK) {
		_Error_Handler(__FILE__, __LINE__);
	}

}

static void MX_DMA_Init(void) {
	/* DMA controller clock enable */
	__HAL_RCC_DMA1_CLK_ENABLE()
	;
	__HAL_RCC_DMA2_CLK_ENABLE()
	;

	/* DMA interrupt init */
	/* DMA2_Stream0_IRQn interrupt configuration */
	HAL_NVIC_SetPriority(DMA2_Stream0_IRQn, 0, 0);
	HAL_NVIC_EnableIRQ(DMA2_Stream0_IRQn);

}

/** Configure pins as
 * Analog
 * Input
 * Output
 * EVENT_OUT
 * EXTI
 */
static void MX_GPIO_Init(void) {

	GPIO_InitTypeDef GPIO_InitStruct;

	/* GPIO Ports Clock Enable */
	__HAL_RCC_GPIOA_CLK_ENABLE()
	;
	__HAL_RCC_GPIOB_CLK_ENABLE()
	;
	__HAL_RCC_GPIOC_CLK_ENABLE()
	;

	/*Configure GPIO pin Output Level */
	HAL_GPIO_WritePin(GPIOC, GPIO_PIN_8 | GPIO_PIN_12, GPIO_PIN_RESET);

	/*Configure GPIO pins : PC8 PC12 */
	GPIO_InitStruct.Pin = GPIO_PIN_8 | GPIO_PIN_12;
	GPIO_InitStruct.Mode = GPIO_MODE_OUTPUT_PP;
	GPIO_InitStruct.Pull = GPIO_NOPULL;
	GPIO_InitStruct.Speed = GPIO_SPEED_FREQ_LOW;
	HAL_GPIO_Init(GPIOC, &GPIO_InitStruct);

}

/* USER CODE BEGIN 4 */
void HAL_ADC_ConvCpltCallback(ADC_HandleTypeDef* hadc) {
	for (int i = 0; i < 3; i++) {
		lane_sensor[i] = buffer[i];
	}
}

static DrvStatusTypeDef Init_All_Sensors(void) {
	if (BSP_ACCELERO_Init(LSM6DSL_X_0, &LSM6DSL_X_0_handle)
			== COMPONENT_ERROR) {
		return COMPONENT_ERROR;
	}

	if (BSP_GYRO_Init(LSM6DSL_G_0, &LSM6DSL_G_0_handle) == COMPONENT_ERROR) {
		return COMPONENT_ERROR;
	}

	return COMPONENT_OK;
}

static DrvStatusTypeDef Enable_All_Sensors(void) {
	if (BSP_ACCELERO_Sensor_Enable(LSM6DSL_X_0_handle) == COMPONENT_ERROR) {
		return COMPONENT_ERROR;
	}

	if (BSP_GYRO_Sensor_Enable(LSM6DSL_G_0_handle) == COMPONENT_ERROR) {
		return COMPONENT_ERROR;
	}

	return COMPONENT_OK;
}

static DrvStatusTypeDef LSM6DSL_X_SelfTest(UART_HandleTypeDef huart) {
	int i = 0;
	SensorAxes_t data_nost;
	SensorAxes_t data;
	/* Wait defined time for stable output */
	HAL_Delay(X_POWER_UP_DELAY);

	/* Read first data and discard it */
	if (LSM6DSL_X_Get_Data(&data) == COMPONENT_ERROR) {
		return COMPONENT_ERROR;
	}

	data_nost.AXIS_X = 0;
	data_nost.AXIS_Y = 0;
	data_nost.AXIS_Z = 0;

	/* Read valid data multiple times and average it */
	for (i = 0; i < N_SAMPLES; i++) {
		if (LSM6DSL_X_Get_Data(&data) == COMPONENT_ERROR) {
			return COMPONENT_ERROR;
		}
		data_nost.AXIS_X += data.AXIS_X;
		data_nost.AXIS_Y += data.AXIS_Y;
		data_nost.AXIS_Z += data.AXIS_Z;
	}
	data_nost.AXIS_X /= N_SAMPLES;
	data_nost.AXIS_Y /= N_SAMPLES;
	data_nost.AXIS_Z /= N_SAMPLES;

	/* Print measured data */
	snprintf(dataOut, MAX_BUF_SIZE, "\r\nMeasured acceleration [mg]:\r\n");
	HAL_UART_Transmit(&huart, (uint8_t *) dataOut, strlen(dataOut),
	UART_TRANSMIT_TIMEOUT);
	snprintf(dataOut, MAX_BUF_SIZE, "       X      | %8ld\r\n",
			data_nost.AXIS_X);
	HAL_UART_Transmit(&huart, (uint8_t *) dataOut, strlen(dataOut),
	UART_TRANSMIT_TIMEOUT);
	snprintf(dataOut, MAX_BUF_SIZE, "       Y      | %8ld\r\n",
			data_nost.AXIS_Y);
	HAL_UART_Transmit(&huart, (uint8_t *) dataOut, strlen(dataOut),
	UART_TRANSMIT_TIMEOUT);
	snprintf(dataOut, MAX_BUF_SIZE, "       Z      | %8ld\r\n",
			data_nost.AXIS_Z);
	HAL_UART_Transmit(&huart, (uint8_t *) dataOut, strlen(dataOut),
	UART_TRANSMIT_TIMEOUT);

	return COMPONENT_OK;
}

static DrvStatusTypeDef LSM6DSL_G_SelfTest(UART_HandleTypeDef huart) {
	int i = 0;
	SensorAxes_t data_nost;
	SensorAxes_t data;

	/* Wait defined time for stable output */
	HAL_Delay(G_POWER_UP_DELAY);

	/* Read first data and discard it */
	if (LSM6DSL_G_Get_Data(&data) == COMPONENT_ERROR) {
		return COMPONENT_ERROR;
	}

	data_nost.AXIS_X = 0;
	data_nost.AXIS_Y = 0;
	data_nost.AXIS_Z = 0;

	/* Read valid data multiple times and average it */
	for (i = 0; i < N_SAMPLES; i++) {
		if (LSM6DSL_G_Get_Data(&data) == COMPONENT_ERROR) {
			return COMPONENT_ERROR;
		}
		data_nost.AXIS_X += data.AXIS_X;
		data_nost.AXIS_Y += data.AXIS_Y;
		data_nost.AXIS_Z += data.AXIS_Z;
	}
	data_nost.AXIS_X /= N_SAMPLES;
	data_nost.AXIS_Y /= N_SAMPLES;
	data_nost.AXIS_Z /= N_SAMPLES;

	/* Print measured data */
	snprintf(dataOut, MAX_BUF_SIZE,
			"\r\nMeasured angular velocity [mdps]:\r\n");
	HAL_UART_Transmit(&huart, (uint8_t *) dataOut, strlen(dataOut),
	UART_TRANSMIT_TIMEOUT);
	snprintf(dataOut, MAX_BUF_SIZE, "       X      |  %8ld\r\n",
			data_nost.AXIS_X);
	HAL_UART_Transmit(&huart, (uint8_t *) dataOut, strlen(dataOut),
	UART_TRANSMIT_TIMEOUT);
	snprintf(dataOut, MAX_BUF_SIZE, "       Y      |  %8ld\r\n",
			data_nost.AXIS_Y);
	HAL_UART_Transmit(&huart, (uint8_t *) dataOut, strlen(dataOut),
	UART_TRANSMIT_TIMEOUT);
	snprintf(dataOut, MAX_BUF_SIZE, "       Z      |  %8ld\r\n",
			data_nost.AXIS_Z);
	HAL_UART_Transmit(&huart, (uint8_t *) dataOut, strlen(dataOut),
	UART_TRANSMIT_TIMEOUT);

	return COMPONENT_OK;
}

static DrvStatusTypeDef LSM6DSL_X_Get_Data(SensorAxes_t *data) {
	uint8_t status;

	/* Wait for data ready */
	do {
		if (BSP_ACCELERO_Get_DRDY_Status(LSM6DSL_X_0_handle, &status)
				== COMPONENT_ERROR) {
			return COMPONENT_ERROR;
		}
	} while (status == 0);

	/* Read accelero data */
	if (BSP_ACCELERO_Get_Axes(LSM6DSL_X_0_handle, data) == COMPONENT_ERROR) {
		return COMPONENT_ERROR;
	}

	return COMPONENT_OK;
}

static DrvStatusTypeDef LSM6DSL_G_Get_Data(SensorAxes_t *data) {
	uint8_t status;

	/* Wait for data ready */
	do {
		if (BSP_GYRO_Get_DRDY_Status(LSM6DSL_G_0_handle, &status)
				== COMPONENT_ERROR) {
			return COMPONENT_ERROR;
		}
	} while (status == 0);

	/* Read accelero data */
	if (BSP_GYRO_Get_Axes(LSM6DSL_G_0_handle, data) == COMPONENT_ERROR) {
		return COMPONENT_ERROR;
	}

	return COMPONENT_OK;
}

/* USER CODE END 4 */

void _Error_Handler(char *file, int line) {
	while (1) {
	}
}

/************************ (C) COPYRIGHT STMicroelectronics *****END OF FILE****/
